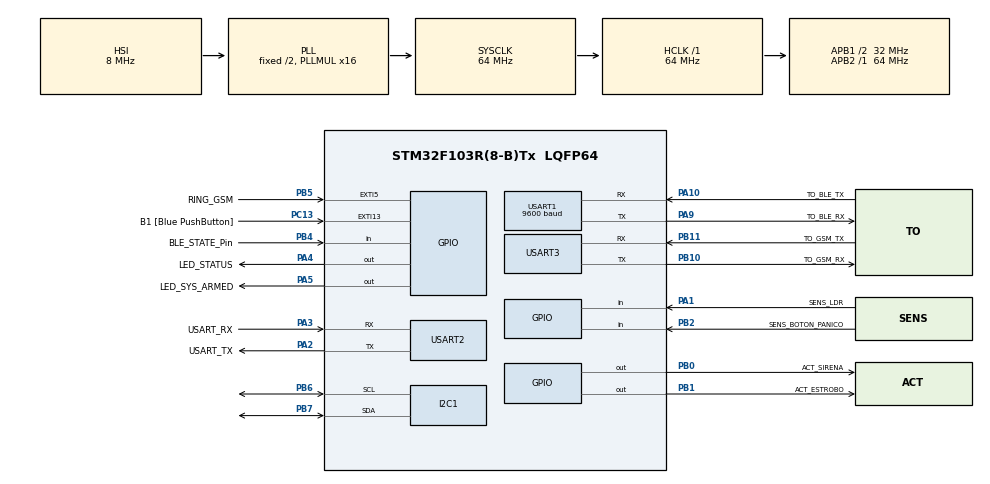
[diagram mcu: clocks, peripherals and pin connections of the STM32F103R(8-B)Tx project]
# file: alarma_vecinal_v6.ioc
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Mcu.Family=STM32F1
Mcu.Name=STM32F103R(8-B)Tx
Mcu.Package=LQFP64
NVIC.EXTI15_10_IRQn=true\:0\:0\:false\:false\:true\:true\:true\:true
NVIC.EXTI9_5_IRQn=true\:0\:0\:false\:false\:true\:true\:true\:true
NVIC.PriorityGroup=NVIC_PRIORITYGROUP_4
NVIC.USART1_IRQn=true\:0\:0\:false\:false\:true\:true\:true\:true
NVIC.USART3_IRQn=true\:0\:0\:false\:false\:true\:true\:true\:true
PA1.GPIO_Label=SENS_LDR
PA1.Signal=GPIO_Input
PA10.GPIO_Label=TO_BLE_TX
PA10.Mode=Asynchronous
PA10.Signal=USART1_RX
PA13.GPIO_Label=TMS
PA13.Mode=Serial_Wire
PA13.Signal=SYS_JTMS-SWDIO
PA14.GPIO_Label=TCK
PA14.Mode=Serial_Wire
PA14.Signal=SYS_JTCK-SWCLK
PA2.GPIO_Label=USART_TX
PA2.GPIO_Mode=GPIO_MODE_AF_PP
PA2.GPIO_PuPd=GPIO_NOPULL
PA2.GPIO_Speed=GPIO_SPEED_FREQ_LOW
PA2.Mode=Asynchronous
PA2.Signal=USART2_TX
PA3.GPIO_Label=USART_RX
PA3.GPIO_Mode=GPIO_MODE_AF_PP
PA3.GPIO_PuPd=GPIO_NOPULL
PA3.GPIO_Speed=GPIO_SPEED_FREQ_LOW
PA3.Mode=Asynchronous
PA3.Signal=USART2_RX
PA4.GPIO_Label=LED_STATUS
PA4.Signal=GPIO_Output
PA5.GPIO_Label=LED_SYS_ARMED
PA5.GPIO_ModeDefaultOutputPP=GPIO_MODE_OUTPUT_PP
PA5.GPIO_PuPd=GPIO_NOPULL
PA5.GPIO_Speed=GPIO_SPEED_FREQ_LOW
PA5.Signal=GPIO_Output
PA9.GPIO_Label=TO_BLE_RX
PA9.Mode=Asynchronous
PA9.Signal=USART1_TX
PB0.GPIO_Label=ACT_SIRENA
PB0.Signal=GPIO_Output
PB1.GPIO_Label=ACT_ESTROBO
PB1.Signal=GPIO_Output
PB10.GPIO_Label=TO_GSM_RX
PB10.Mode=Asynchronous
PB10.Signal=USART3_TX
PB11.GPIO_Label=TO_GSM_TX
PB11.Mode=Asynchronous
PB11.Signal=USART3_RX
PB2.GPIO_Label=SENS_BOTON_PANICO
PB2.Signal=GPIO_Input
PB3.GPIO_Label=SWO
PB3.Signal=SYS_JTDO-TRACESWO
PB4.GPIO_Label=BLE_STATE_Pin
PB4.GPIO_PuPd=GPIO_PULLDOWN
PB4.Signal=GPIO_Input
PB5.GPIO_Label=RING_GSM
PB5.GPIO_ModeDefaultEXTI=GPIO_MODE_IT_FALLING
PB5.Signal=GPXTI5
PB6.Mode=I2C
PB6.Signal=I2C1_SCL
PB7.Mode=I2C
PB7.Signal=I2C1_SDA
PC13-TAMPER-RTC.GPIO_Label=B1 [Blue PushButton]
PC13-TAMPER-RTC.GPIO_PuPd=GPIO_NOPULL
PC13-TAMPER-RTC.Signal=GPXTI13
PC14-OSC32_IN.Mode=LSE-External-Oscillator
PC14-OSC32_IN.Signal=RCC_OSC32_IN
PC15-OSC32_OUT.Mode=LSE-External-Oscillator
PC15-OSC32_OUT.Signal=RCC_OSC32_OUT
PD0-OSC_IN.Mode=HSE-External-Clock-Source
PD0-OSC_IN.Signal=RCC_OSC_IN
PD1-OSC_OUT.Mode=HSE-External-Clock-Source
PD1-OSC_OUT.Signal=RCC_OSC_OUT
ProjectManager.HeapSize=0x200
ProjectManager.StackSize=0x400
ProjectManager.TargetToolchain=STM32CubeIDE
RCC.AHBFreq_Value=64000000
RCC.APB1CLKDivider=RCC_HCLK_DIV2
RCC.APB1Freq_Value=32000000
RCC.APB1TimFreq_Value=64000000
RCC.APB2Freq_Value=64000000
RCC.APB2TimFreq_Value=64000000
RCC.HCLKFreq_Value=64000000
RCC.PLLMUL=RCC_PLL_MUL16
RCC.RTCClockSelection=RCC_RTCCLKSOURCE_LSE
RCC.SYSCLKFreq_VALUE=64000000
RCC.SYSCLKSource=RCC_SYSCLKSOURCE_PLLCLK
RCC.USBFreq_Value=64000000
USART1.BaudRate=9600
USART1.VirtualMode=VM_ASYNC
USART2.VirtualMode=VM_ASYNC
USART3.VirtualMode=VM_ASYNC
board=NUCLEO-F103RB

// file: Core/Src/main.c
/* USER CODE BEGIN Header */
/**
  ******************************************************************************
  main.c - Sistema de Alarma Vecinal
  Loop principal con ejecutor ciclico de 1ms.
  Cada modulo tiene su FSM y corre una vez por tick de SysTick.
  ******************************************************************************
  */
/* USER CODE END Header */

#include "main.h"
#include "i2c.h"
#include "usart.h"
#include "gpio.h"

/* USER CODE BEGIN Includes */
#include "app_events.h"
#include "sensor_boton.h"
#include "sensor_ldr.h"
#include "sensor_ble.h"
#include "sensor_gsm.h"
#include "gsm_driver.h"
#include "eeprom_driver.h"
#include "sistema.h"
#include "act_sirena.h"
#include "act_estrobo.h"
#include "act_led_rojo.h"
#include "act_led_amarillo.h"
#include "sms_manager.h"
/* USER CODE END Includes */

/* USER CODE BEGIN PV */

/* Flag seteado por SysTick cada 1 ms para disparar el ciclo de tareas. */
volatile uint8_t g_tick_flag = 0;

/* Profiling con DWT. Agregar en Live Expressions del debugger.
   t_xxx_us = ultimo tiempo de cada tarea en us
   wcet_xxx_us = maximo historico desde el arranque
   U = suma de todos los wcet_xxx / 1000 */
volatile uint32_t t_sensor_boton_us     = 0;
volatile uint32_t t_sensor_ldr_us       = 0;
volatile uint32_t t_sensor_ble_us       = 0;
volatile uint32_t t_sensor_gsm_us       = 0;
volatile uint32_t t_gsm_driver_us       = 0;
volatile uint32_t t_sistema_us          = 0;
volatile uint32_t t_act_sirena_us       = 0;
volatile uint32_t t_act_estrobo_us      = 0;
volatile uint32_t t_act_led_rojo_us     = 0;
volatile uint32_t t_act_led_amarillo_us = 0;
volatile uint32_t t_sms_manager_us      = 0;
volatile uint32_t t_eeprom_driver_us    = 0;

volatile uint32_t wcet_sensor_boton_us     = 0;
volatile uint32_t wcet_sensor_ldr_us       = 0;
volatile uint32_t wcet_sensor_ble_us       = 0;
volatile uint32_t wcet_sensor_gsm_us       = 0;
volatile uint32_t wcet_gsm_driver_us       = 0;
volatile uint32_t wcet_sistema_us          = 0;
volatile uint32_t wcet_act_sirena_us       = 0;
volatile uint32_t wcet_act_estrobo_us      = 0;
volatile uint32_t wcet_act_led_rojo_us     = 0;
volatile uint32_t wcet_act_led_amarillo_us = 0;
volatile uint32_t wcet_sms_manager_us      = 0;
volatile uint32_t wcet_eeprom_driver_us    = 0;

/* USER CODE END PV */

void SystemClock_Config(void);

/* USER CODE BEGIN PFP */

/* Mide cuantos us tarda cada tarea con el DWT (72 ciclos = 1 us @ 72 MHz). */
#define TASK_MEASURE(t_var, wcet_var, func_call)    \
    do {                                             \
        uint32_t _c0 = DWT->CYCCNT;                 \
        func_call;                                   \
        uint32_t _dt = (DWT->CYCCNT - _c0) / 72U;  \
        (t_var) = _dt;                               \
        if (_dt > (wcet_var)) (wcet_var) = _dt;     \
    } while (0)

/* USER CODE END PFP */

int main(void)
{
    HAL_Init();
    SystemClock_Config();

    MX_GPIO_Init();
    MX_I2C1_Init();
    MX_USART2_UART_Init();
    MX_USART1_UART_Init();
    MX_USART3_UART_Init();

    /* USER CODE BEGIN 2 */

    /* Activa el contador DWT para medir tiempos con TASK_MEASURE. */
    CoreDebug->DEMCR |= CoreDebug_DEMCR_TRCENA_Msk;
    DWT->CYCCNT = 0;
    DWT->CTRL  |= DWT_CTRL_CYCCNTENA_Msk;

    /* Solo en build de debug: mantiene los relojes de debug activos durante
       Sleep mode para que el Live Expressions pueda leer los wcet con WFI.
       Esto solo se mandtiene actico cuando el debugger está conectado. */
#ifdef DEBUG
    HAL_DBGMCU_EnableDBGSleepMode();
#endif

    /* Inicializacion de modulos. La EEPROM carga los vecinos antes del loop. */
    eeprom_driver_init();
    gsm_driver_init();

    sensor_boton_init();
    sensor_ldr_init();
    sensor_ble_init();
    sensor_gsm_init();

    sistema_init();
    sms_manager_init();

    act_sirena_init();
    act_estrobo_init();
    act_led_rojo_init();
    act_led_amarillo_init();

    /* USER CODE END 2 */

    /* Espera el tick de 1ms antes de correr las tareas. */
    while (1)
    {
        if (g_tick_flag) {
            g_tick_flag = 0;

            /* SENSE */
            TASK_MEASURE(t_sensor_boton_us,     wcet_sensor_boton_us,     sensor_boton_update());
            TASK_MEASURE(t_sensor_ldr_us,       wcet_sensor_ldr_us,       sensor_ldr_update());
            TASK_MEASURE(t_sensor_ble_us,       wcet_sensor_ble_us,       sensor_ble_update());
            TASK_MEASURE(t_sensor_gsm_us,       wcet_sensor_gsm_us,       sensor_gsm_update());
            TASK_MEASURE(t_gsm_driver_us,       wcet_gsm_driver_us,       gsm_driver_update());

            /* PROCESS */
            TASK_MEASURE(t_sistema_us,          wcet_sistema_us,          sistema_update());

            /* ACT */
            TASK_MEASURE(t_act_sirena_us,       wcet_act_sirena_us,       act_sirena_update());
            TASK_MEASURE(t_act_estrobo_us,      wcet_act_estrobo_us,      act_estrobo_update());
            TASK_MEASURE(t_act_led_rojo_us,     wcet_act_led_rojo_us,     act_led_rojo_update());
            TASK_MEASURE(t_act_led_amarillo_us, wcet_act_led_amarillo_us, act_led_amarillo_update());
            TASK_MEASURE(t_sms_manager_us,      wcet_sms_manager_us,      sms_manager_update());
            TASK_MEASURE(t_eeprom_driver_us,    wcet_eeprom_driver_us,    eeprom_driver_update());
        }

        /* Sleep mode: el core queda suspendido hasta el proximo SysTick (1 ms)
           o hasta cualquier IRQ de UART (GSM/BLE) o I2C.
           Con U = 0.65 el core esta ocioso ~35% del tiempo por tick, ese tiempo
           se aprovecha en bajo consumo sin hacer busy-wait.
           No se usa STOP ni STANDBY porque cortan los relojes de los perifericos
           y dejarian de funcionar las recepciones por interrupcion de UART e I2C. */
        __WFI();
    }
}

void SystemClock_Config(void)
{
    RCC_OscInitTypeDef RCC_OscInitStruct = {0};
    RCC_ClkInitTypeDef RCC_ClkInitStruct = {0};

    RCC_OscInitStruct.OscillatorType      = RCC_OSCILLATORTYPE_HSI;
    RCC_OscInitStruct.HSIState            = RCC_HSI_ON;
    RCC_OscInitStruct.HSICalibrationValue = RCC_HSICALIBRATION_DEFAULT;
    RCC_OscInitStruct.PLL.PLLState        = RCC_PLL_ON;
    RCC_OscInitStruct.PLL.PLLSource       = RCC_PLLSOURCE_HSI_DIV2;
    RCC_OscInitStruct.PLL.PLLMUL          = RCC_PLL_MUL16;
    if (HAL_RCC_OscConfig(&RCC_OscInitStruct) != HAL_OK) Error_Handler();

    RCC_ClkInitStruct.ClockType      = RCC_CLOCKTYPE_HCLK | RCC_CLOCKTYPE_SYSCLK |
                                       RCC_CLOCKTYPE_PCLK1 | RCC_CLOCKTYPE_PCLK2;
    RCC_ClkInitStruct.SYSCLKSource   = RCC_SYSCLKSOURCE_PLLCLK;
    RCC_ClkInitStruct.AHBCLKDivider  = RCC_SYSCLK_DIV1;
    RCC_ClkInitStruct.APB1CLKDivider = RCC_HCLK_DIV2;
    RCC_ClkInitStruct.APB2CLKDivider = RCC_HCLK_DIV1;
    if (HAL_RCC_ClockConfig(&RCC_ClkInitStruct, FLASH_LATENCY_2) != HAL_OK) Error_Handler();
}

/* USER CODE BEGIN 4 */

/* El callback de SysTick levanta el flag que dispara el ciclo de tareas. */
void HAL_SYSTICK_Callback(void) {
    g_tick_flag = 1;
}

/* Los callbacks de recepcion UART despachan al modulo correspondiente segun
   el periferico que genero la interrupcion. */
void HAL_UART_RxCpltCallback(UART_HandleTypeDef *huart) {
    if (huart->Instance == USART1) sensor_ble_rx_callback();
    if (huart->Instance == USART3) sensor_gsm_rx_callback();
}

/* El callback de transmision completa notifica al motor SMS para que avance
   su FSM al siguiente estado. */
void HAL_UART_TxCpltCallback(UART_HandleTypeDef *huart) {
    if (huart->Instance == USART3) sms_manager_tx_done_callback();
}

/* El callback de escritura I2C (Mem_Write_IT completado) notifica al
   driver de EEPROM para que avance su FSM al siguiente estado. */
void HAL_I2C_MemTxCpltCallback(I2C_HandleTypeDef *hi2c) {
    if (hi2c->Instance == I2C1) flag_i2c_done = 1;
}

/* En caso de error UART se rearma la recepcion por interrupcion sin
   alterar el estado de ninguna FSM. */
void HAL_UART_ErrorCallback(UART_HandleTypeDef *huart) {
    if (huart->Instance == USART1) sensor_ble_error_callback();
    if (huart->Instance == USART3) sensor_gsm_error_callback();
}

/* USER CODE END 4 */

void Error_Handler(void) {
    __disable_irq();
    while (1) { }
}
